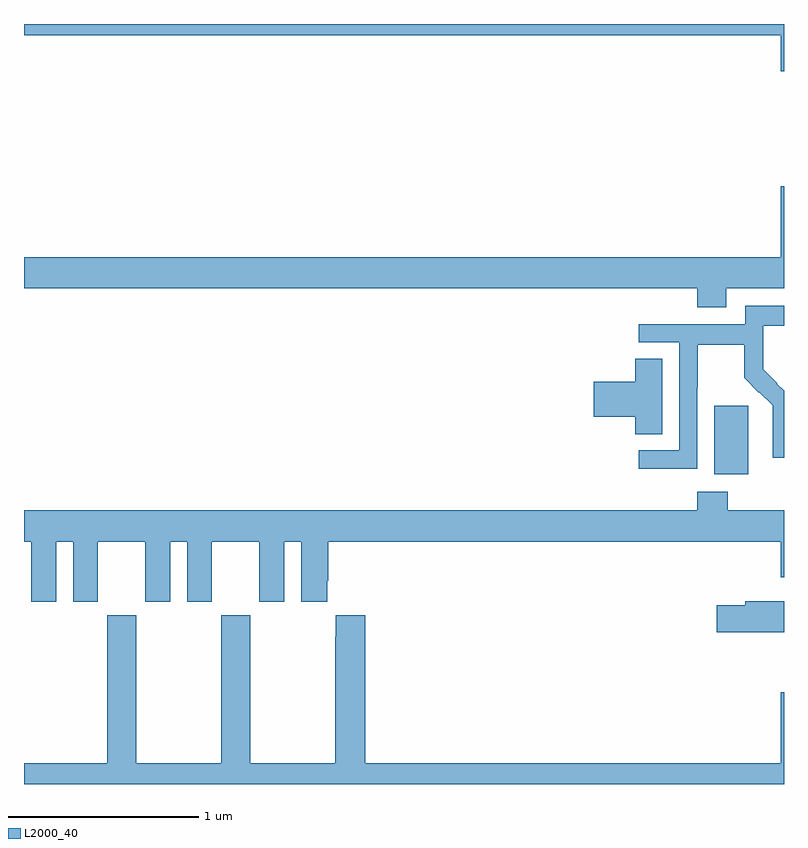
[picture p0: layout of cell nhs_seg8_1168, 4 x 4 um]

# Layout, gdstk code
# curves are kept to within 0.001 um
import gdstk
lib = gdstk.Library(unit=1e-6, precision=1e-09)
def R(c, l, rs):  # rectangles x0, y0, x1, y1
    for r in rs: c.add(gdstk.rectangle(r[:2], r[2:], *l))
def P(c, l, *ps):  # polygons
    for p in ps: c.add(gdstk.Polygon(p, *l))
L2000_40 = (2000, 40)

nhs_seg8_1168 = lib.new_cell('nhs_seg8_1168')
R(nhs_seg8_1168, L2000_40, [(188.633,1107.53,188.812,1107.891)])
P(nhs_seg8_1168, L2000_40, [(189,1109.9),(185,1109.9),(185,1109.84),(188.984,1109.84),(188.984,1109.652),(189,1109.652)],
  [(188.695,1108.508),(189,1108.508),(189,1109.047),(188.984,1109.047),(188.984,1108.672),(185,1108.672),(185,1108.508),(188.543,1108.508),(188.543,1108.409),(188.695,1108.409)],
  [(188.544,1107.988),(188.547,1107.988),(188.547,1108.212),(188.791,1108.212),(188.791,1108.037),(188.868,1107.96),(188.871,1107.963),(188.942,1107.893),(188.942,1107.77),(188.94,1107.77),(188.94,1107.616),(189,1107.616),(189,1107.97),(188.89,1108.082),(188.89,1108.179),(188.892,1108.179),(188.892,1108.313),(189,1108.313),(189,1108.417),(188.796,1108.417),(188.796,1108.32),(188.235,1108.32),(188.235,1108.224),(188.448,1108.224),(188.448,1107.657),(188.235,1107.657),(188.235,1107.559),(188.544,1107.559)],
  [(188.359,1108.139),(188.216,1108.139),(188.216,1108.016),(187.998,1108.016),(187.998,1107.833),(188.216,1107.833),(188.216,1107.742),(188.359,1107.742)],
  [(185.17,1107.176),(185.258,1107.176),(185.258,1106.859),(185.389,1106.859),(185.389,1107.176),(185.639,1107.176),(185.639,1106.859),(185.77,1106.859),(185.77,1107.176),(185.858,1107.176),(185.858,1106.859),(185.989,1106.859),(185.989,1107.176),(186.239,1107.176),(186.239,1106.859),(186.37,1106.859),(186.37,1107.176),(186.458,1107.176),(186.458,1106.859),(186.595,1106.859),(186.595,1106.971),(186.602,1106.971),(186.602,1107.176),(188.984,1107.176),(188.984,1106.988),(189,1106.988),(189,1107.34),(188.703,1107.34),(188.703,1107.439),(188.543,1107.439),(188.543,1107.34),(185,1107.34),(185,1107.176),(185.039,1107.176),(185.039,1106.859),(185.17,1106.859)],
  [(189,1106.862),(188.795,1106.862),(188.795,1106.841),(188.646,1106.841),(188.646,1106.699),(189,1106.699)],
  [(189,1106.383),(188.984,1106.383),(188.984,1106.008),(186.797,1106.008),(186.797,1106.788),(186.641,1106.788),(186.641,1106.675),(186.637,1106.675),(186.637,1106.008),(186.192,1106.008),(186.192,1106.788),(186.037,1106.788),(186.037,1106.008),(185.592,1106.008),(185.592,1106.788),(185.437,1106.788),(185.437,1106.008),(185,1106.008),(185,1105.9),(189,1105.9)])

lib.write_gds('nhs_seg8_1168.gds')
